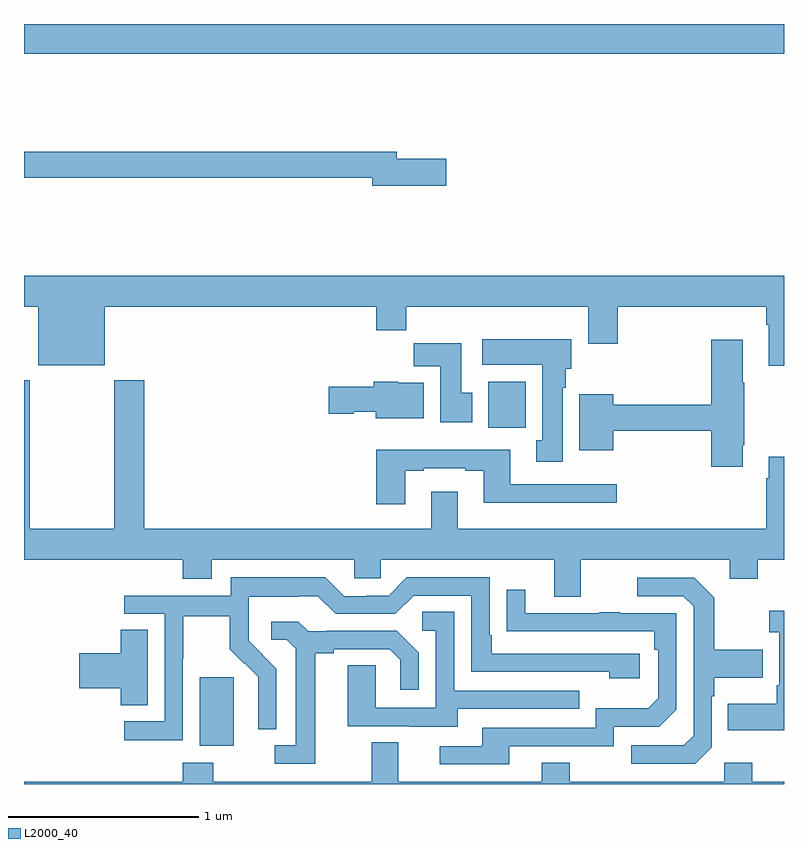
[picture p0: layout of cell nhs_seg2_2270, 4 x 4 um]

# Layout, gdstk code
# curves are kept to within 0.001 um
import gdstk
lib = gdstk.Library(unit=1e-6, precision=1e-09)
def R(c, l, rs):  # rectangles x0, y0, x1, y1
    for r in rs: c.add(gdstk.rectangle(r[:2], r[2:], *l))
def P(c, l, *ps):  # polygons
    for p in ps: c.add(gdstk.Polygon(p, *l))
L2000_40 = (2000, 40)

nhs_seg2_2270 = lib.new_cell('nhs_seg2_2270')
R(nhs_seg2_2270, L2000_40, [(229.925,636.002,230.104,636.363), (231.443,637.676,231.64,637.918), (229,639.644,233,639.8)])
P(nhs_seg2_2270, L2000_40, [(231.223,639.092),(230.962,639.092),(230.962,639.128),(229,639.128),(229,638.992),(230.834,638.992),(230.834,638.95),(231.223,638.95)],
  [(233,638.476),(229,638.476),(229,638.312),(229.076,638.312),(229.076,638.003),(229.426,638.003),(229.426,638.312),(230.855,638.312),(230.855,638.188),(231.011,638.188),(231.011,638.312),(231.971,638.312),(231.971,638.118),(232.124,638.118),(232.124,638.312),(232.907,638.312),(232.907,638.216),(232.919,638.216),(232.919,638.001),(233,638.001)],
  [(231.835,637.886),(231.85,637.886),(231.85,637.986),(231.88,637.986),(231.88,638.14),(231.411,638.14),(231.411,638.006),(231.728,638.006),(231.728,637.61),(231.695,637.61),(231.695,637.497),(231.835,637.497)],
  [(232.783,637.582),(232.791,637.582),(232.791,637.913),(232.783,637.913),(232.783,638.137),(232.616,638.137),(232.616,637.796),(232.102,637.796),(232.102,637.852),(231.923,637.852),(231.923,637.556),(232.102,637.556),(232.102,637.66),(232.616,637.66),(232.616,637.47),(232.783,637.47)],
  [(231.358,637.86),(231.301,637.86),(231.301,638.119),(231.052,638.119),(231.052,638),(231.191,638),(231.191,637.704),(231.358,637.704)],
  [(231.931,636.98),(232.715,636.98),(232.715,636.881),(232.863,636.881),(232.863,636.98),(233,636.98),(233,637.522),(232.919,637.522),(232.919,637.409),(232.907,637.409),(232.907,637.144),(231.283,637.144),(231.283,637.339),(231.143,637.339),(231.143,637.144),(229.634,637.144),(229.634,637.924),(229.474,637.924),(229.474,637.144),(229.029,637.144),(229.029,637.924),(229,637.924),(229,636.98),(229.835,636.98),(229.835,636.881),(229.987,636.881),(229.987,636.98),(230.739,636.98),(230.739,636.882),(230.877,636.882),(230.877,636.98),(231.791,636.98),(231.791,636.786),(231.931,636.786)],
  [(231.103,637.912),(230.97,637.912),(230.97,637.918),(230.84,637.918),(230.84,637.89),(230.604,637.89),(230.604,637.748),(230.736,637.748),(230.736,637.76),(230.852,637.76),(230.852,637.724),(231.103,637.724)],
  [(231.007,637.449),(231.103,637.449),(231.103,637.461),(231.323,637.461),(231.323,637.449),(231.419,637.449),(231.419,637.28),(232.12,637.28),(232.12,637.377),(231.559,637.377),(231.559,637.558),(230.855,637.558),(230.855,637.272),(231.007,637.272)],
  [(229.836,636.46),(229.839,636.46),(229.839,636.684),(230.083,636.684),(230.083,636.509),(230.16,636.432),(230.163,636.435),(230.234,636.365),(230.234,636.242),(230.232,636.242),(230.232,636.088),(230.328,636.088),(230.328,636.406),(230.182,636.554),(230.182,636.651),(230.184,636.651),(230.184,636.785),(230.447,636.785),(230.447,636.789),(230.547,636.789),(230.64,636.696),(230.955,636.696),(231.051,636.792),(231.354,636.792),(231.354,636.39),(232.079,636.39),(232.079,636.356),(232.24,636.356),(232.24,636.486),(231.463,636.486),(231.463,636.583),(231.45,636.583),(231.45,636.888),(231.015,636.888),(230.919,636.792),(230.801,636.792),(230.801,636.789),(230.685,636.789),(230.585,636.889),(230.088,636.889),(230.088,636.792),(229.527,636.792),(229.527,636.696),(229.74,636.696),(229.74,636.129),(229.527,636.129),(229.527,636.031),(229.836,636.031)],
  [(232.62,635.994),(232.62,636.263),(232.633,636.263),(232.633,636.359),(232.889,636.359),(232.889,636.507),(232.633,636.507),(232.633,636.779),(232.527,636.885),(232.227,636.885),(232.227,636.789),(232.47,636.789),(232.524,636.735),(232.524,636.054),(232.473,636.003),(232.197,636.003),(232.197,635.907),(232.533,635.907)],
  [(231.553,636),(232.104,636),(232.104,636.102),(232.344,636.102),(232.434,636.192),(232.434,636.699),(232.139,636.699),(232.139,636.704),(232.027,636.704),(232.027,636.699),(231.637,636.699),(231.637,636.823),(231.541,636.823),(231.541,636.604),(232.318,636.603),(232.318,636.506),(232.338,636.506),(232.338,636.252),(232.285,636.199),(232.008,636.199),(232.008,636.096),(231.413,636.096),(231.413,636),(231.189,636),(231.189,635.904),(231.553,635.904)],
  [(233,636.712),(232.923,636.712),(232.923,636.599),(232.974,636.599),(232.974,636.319),(232.962,636.319),(232.962,636.223),(232.705,636.223),(232.705,636.083),(233,636.083)],
  [(231.283,636.195),(231.923,636.195),(231.923,636.291),(231.264,636.291),(231.264,636.707),(231.096,636.707),(231.096,636.606),(231.168,636.606),(231.168,636.201),(230.85,636.201),(230.85,636.425),(230.705,636.425),(230.705,636.105),(231.029,636.105),(231.029,636.101),(231.283,636.101)],
  [(230.533,636.488),(230.629,636.488),(230.629,636.51),(230.924,636.51),(230.981,636.453),(230.981,636.297),(231.078,636.297),(231.078,636.49),(230.962,636.606),(230.59,636.606),(230.59,636.603),(230.496,636.603),(230.444,636.655),(230.301,636.655),(230.301,636.558),(230.382,636.558),(230.429,636.511),(230.429,636.003),(230.319,636.003),(230.319,635.907),(230.533,635.907)],
  [(229.651,636.611),(229.508,636.611),(229.508,636.488),(229.29,636.488),(229.29,636.305),(229.508,636.305),(229.508,636.214),(229.651,636.214)],
  [(233,635.812),(232.833,635.812),(232.833,635.911),(232.686,635.911),(232.686,635.812),(231.873,635.812),(231.873,635.911),(231.725,635.911),(231.725,635.812),(230.971,635.812),(230.971,636.02),(230.831,636.02),(230.831,635.812),(229.995,635.812),(229.995,635.911),(229.835,635.911),(229.835,635.812),(229,635.812),(229,635.8),(233,635.8)])

lib.write_gds('nhs_seg2_2270.gds')
